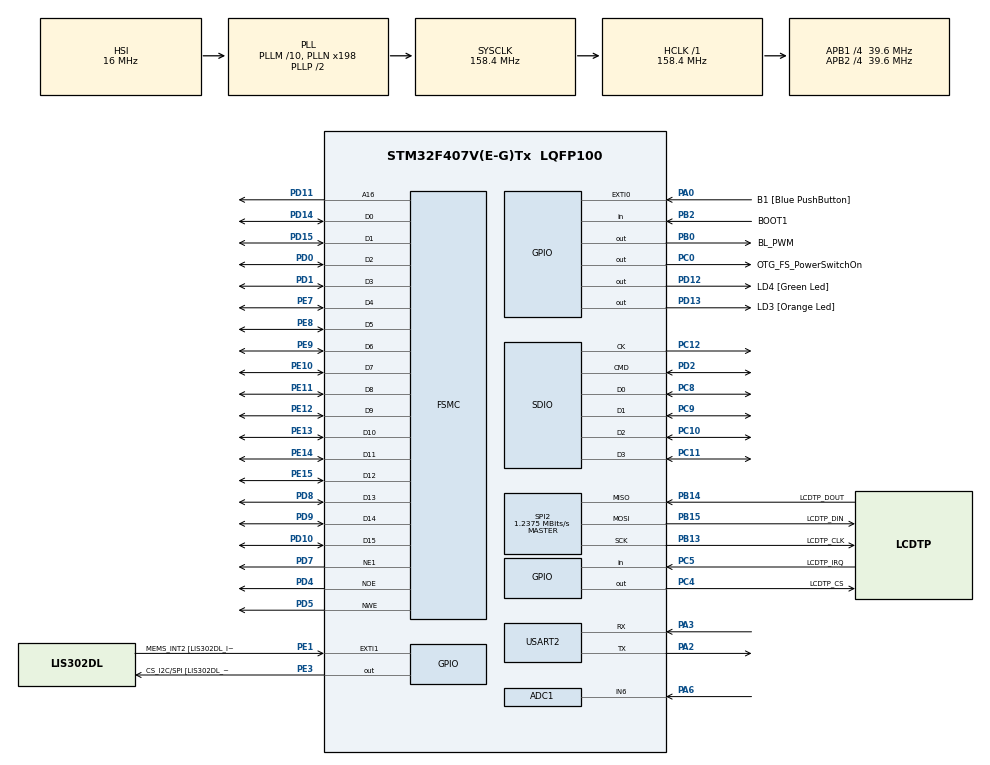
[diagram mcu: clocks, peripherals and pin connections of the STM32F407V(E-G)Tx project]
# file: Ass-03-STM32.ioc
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ADC1.Channel-0\#ChannelRegularConversion=ADC_CHANNEL_6
ADC1.ClockPrescaler=ADC_CLOCK_SYNC_PCLK_DIV8
ADC1.ContinuousConvMode=ENABLE
ADC1.DMAContinuousRequests=ENABLE
ADC1.DataAlign=ADC_DATAALIGN_RIGHT
ADC1.DiscontinuousConvMode=DISABLE
ADC1.EOCSelection=ADC_EOC_SEQ_CONV
ADC1.EnableAnalogWatchDog=false
ADC1.ExternalTrigConv=ADC_SOFTWARE_START
ADC1.ExternalTrigConvEdge=ADC_EXTERNALTRIGCONVEDGE_NONE
ADC1.InjNumberOfConversion=0
ADC1.NbrOfConversion=1
ADC1.NbrOfConversionFlag=1
ADC1.Rank-0\#ChannelRegularConversion=1
ADC1.Resolution=ADC_RESOLUTION_12B
ADC1.SamplingTime-0\#ChannelRegularConversion=ADC_SAMPLETIME_480CYCLES
ADC1.ScanConvMode=DISABLE
ADC1.master=1
Dma.ADC1.2.Direction=DMA_PERIPH_TO_MEMORY
Dma.ADC1.2.FIFOMode=DMA_FIFOMODE_DISABLE
Dma.ADC1.2.Instance=DMA2_Stream0
Dma.ADC1.2.MemDataAlignment=DMA_MDATAALIGN_HALFWORD
Dma.ADC1.2.MemInc=DMA_MINC_ENABLE
Dma.ADC1.2.Mode=DMA_CIRCULAR
Dma.ADC1.2.PeriphDataAlignment=DMA_PDATAALIGN_HALFWORD
Dma.ADC1.2.PeriphInc=DMA_PINC_DISABLE
Dma.ADC1.2.Priority=DMA_PRIORITY_LOW
Dma.Request0=SDIO_RX
Dma.Request1=SDIO_TX
Dma.Request2=ADC1
Dma.SDIO_RX.0.Direction=DMA_PERIPH_TO_MEMORY
Dma.SDIO_RX.0.FIFOMode=DMA_FIFOMODE_ENABLE
Dma.SDIO_RX.0.FIFOThreshold=DMA_FIFO_THRESHOLD_FULL
Dma.SDIO_RX.0.Instance=DMA2_Stream3
Dma.SDIO_RX.0.MemBurst=DMA_MBURST_INC4
Dma.SDIO_RX.0.MemDataAlignment=DMA_MDATAALIGN_WORD
Dma.SDIO_RX.0.MemInc=DMA_MINC_ENABLE
Dma.SDIO_RX.0.Mode=DMA_PFCTRL
Dma.SDIO_RX.0.PeriphBurst=DMA_PBURST_INC4
Dma.SDIO_RX.0.PeriphDataAlignment=DMA_PDATAALIGN_WORD
Dma.SDIO_RX.0.PeriphInc=DMA_PINC_DISABLE
Dma.SDIO_RX.0.Priority=DMA_PRIORITY_LOW
Dma.SDIO_TX.1.Direction=DMA_MEMORY_TO_PERIPH
Dma.SDIO_TX.1.FIFOMode=DMA_FIFOMODE_ENABLE
Dma.SDIO_TX.1.FIFOThreshold=DMA_FIFO_THRESHOLD_FULL
Dma.SDIO_TX.1.Instance=DMA2_Stream6
Dma.SDIO_TX.1.MemBurst=DMA_MBURST_INC4
Dma.SDIO_TX.1.MemDataAlignment=DMA_MDATAALIGN_WORD
Dma.SDIO_TX.1.MemInc=DMA_MINC_ENABLE
Dma.SDIO_TX.1.Mode=DMA_PFCTRL
Dma.SDIO_TX.1.PeriphBurst=DMA_PBURST_INC4
Dma.SDIO_TX.1.PeriphDataAlignment=DMA_PDATAALIGN_WORD
Dma.SDIO_TX.1.PeriphInc=DMA_PINC_DISABLE
Dma.SDIO_TX.1.Priority=DMA_PRIORITY_LOW
FATFS._FS_LOCK=5
FATFS._MAX_SS=512
FATFS._USE_CHMOD=1
FATFS._USE_LFN=0
FREERTOS.BinarySemaphores01=myBinarySem01,Dynamic,NULL;myBinarySem02,Dynamic,NULL;myBinarySem03,Dynamic,NULL;myBinarySem04,Dynamic,NULL;myBinarySem05,Dynamic,NULL;myBinarySem06,Dynamic,NULL
FREERTOS.CountingSemaphores01=myCountingSem01,2,Dynamic,NULL
FREERTOS.Mutexes01=myMutex01,Dynamic,NULL;myMutex02,Dynamic,NULL;myMutex03,Dynamic,NULL
FREERTOS.Queues01=myQueue01,4,uint32_t,0,Dynamic,NULL,NULL
FREERTOS.Tasks01=defaultTask,0,2048,StartDefaultTask,Default,NULL,Dynamic,NULL,NULL;myTask02,0,2048,StartTask02,Default,NULL,Dynamic,NULL,NULL;myTask03,2,2048,StartTask03,Default,NULL,Dynamic,NULL,NULL;myTask04,3,2048,StartTask04,Default,NULL,Dynamic,NULL,NULL
FREERTOS.Timers01=myTimer01,Callback01,osTimerPeriodic,Default,NULL,Dynamic,NULL
FREERTOS.configTOTAL_HEAP_SIZE=48000
FREERTOS.configUSE_COUNTING_SEMAPHORES=1
FREERTOS.configUSE_TIMERS=1
Mcu.Family=STM32F4
Mcu.Name=STM32F407V(E-G)Tx
Mcu.Package=LQFP100
NVIC.DMA2_Stream0_IRQn=true\:5\:0\:false\:false\:true\:true\:false
NVIC.DMA2_Stream3_IRQn=true\:5\:0\:false\:false\:true\:true\:false
NVIC.DMA2_Stream6_IRQn=true\:5\:0\:false\:false\:true\:true\:false
NVIC.PriorityGroup=NVIC_PRIORITYGROUP_4
NVIC.SDIO_IRQn=true\:5\:0\:false\:false\:true\:true\:true
NVIC.SPI2_IRQn=true\:8\:0\:true\:false\:true\:true\:true
NVIC.TIM1_UP_TIM10_IRQn=true\:0\:0\:false\:false\:true\:false\:false
NVIC.TimeBase=TIM1_UP_TIM10_IRQn
NVIC.TimeBaseIP=TIM1
NVIC.USART2_IRQn=true\:5\:0\:false\:false\:true\:true\:true
PA0-WKUP.GPIO_Label=B1 [Blue PushButton]
PA0-WKUP.GPIO_ModeDefaultEXTI=GPIO_MODE_EVT_RISING
PA0-WKUP.GPIO_PuPd=GPIO_NOPULL
PA0-WKUP.Signal=GPXTI0
PA10.GPIO_Label=OTG_FS_ID
PA10.GPIO_Mode=GPIO_MODE_AF_PP
PA10.GPIO_PuPd=GPIO_NOPULL
PA10.GPIO_Speed=GPIO_SPEED_FREQ_LOW
PA10.Signal=USB_OTG_FS_ID
PA11.GPIO_Label=OTG_FS_DM
PA11.GPIO_Mode=GPIO_MODE_AF_PP
PA11.GPIO_PuPd=GPIO_NOPULL
PA11.GPIO_Speed=GPIO_SPEED_FREQ_LOW
PA11.Signal=USB_OTG_FS_DM
PA12.GPIO_Label=OTG_FS_DP
PA12.GPIO_Mode=GPIO_MODE_AF_PP
PA12.GPIO_PuPd=GPIO_NOPULL
PA12.GPIO_Speed=GPIO_SPEED_FREQ_LOW
PA12.Signal=USB_OTG_FS_DP
PA13.GPIO_Label=SWDIO
PA13.Signal=SYS_JTMS-SWDIO
PA14.GPIO_Label=SWCLK
PA14.Signal=SYS_JTCK-SWCLK
PA2.Mode=Asynchronous
PA2.Signal=USART2_TX
PA3.Mode=Asynchronous
PA3.Signal=USART2_RX
PA4.GPIO_Label=I2S3_WS [CS43L22_LRCK]
PA4.GPIO_Mode=GPIO_MODE_AF_PP
PA4.GPIO_PuPd=GPIO_NOPULL
PA4.GPIO_Speed=GPIO_SPEED_FREQ_LOW
PA4.Signal=I2S3_WS
PA5.GPIO_Label=SPI1_SCK [LIS302DL_SCL/SPC]
PA5.GPIO_Mode=GPIO_MODE_AF_PP
PA5.GPIO_PuPd=GPIO_NOPULL
PA5.GPIO_Speed=GPIO_SPEED_FREQ_LOW
PA5.Signal=SPI1_SCK
PA6.Signal=ADCx_IN6
PA9.GPIO_Label=VBUS_FS
PA9.GPIO_Mode=GPIO_MODE_INPUT
PA9.GPIO_PuPd=GPIO_NOPULL
PA9.Signal=USB_OTG_FS_VBUS
PB0.GPIO_Label=BL_PWM
PB0.Signal=GPIO_Output
PB10.GPIO_Label=CLK_IN [MP45DT02_CLK]
PB10.GPIO_Mode=GPIO_MODE_AF_PP
PB10.GPIO_PuPd=GPIO_NOPULL
PB10.GPIO_Speed=GPIO_SPEED_FREQ_LOW
PB10.Signal=I2S2_CK
PB13.GPIO_Label=LCDTP_CLK
PB13.Mode=Full_Duplex_Master
PB13.Signal=SPI2_SCK
PB14.GPIO_Label=LCDTP_DOUT
PB14.Mode=Full_Duplex_Master
PB14.Signal=SPI2_MISO
PB15.GPIO_Label=LCDTP_DIN
PB15.Mode=Full_Duplex_Master
PB15.Signal=SPI2_MOSI
PB2.GPIO_Label=BOOT1
PB2.GPIO_Mode=GPIO_MODE_INPUT
PB2.GPIO_PuPd=GPIO_NOPULL
PB2.Signal=GPIO_Input
PB3.GPIO_Label=SWO
PB3.Signal=SYS_JTDO-SWO
PB6.GPIO_Label=Audio_SCL [CS43L22_SCL]
PB6.GPIO_Mode=GPIO_MODE_AF_OD
PB6.GPIO_PuPd=GPIO_NOPULL
PB6.GPIO_Speed=GPIO_SPEED_FREQ_LOW
PB6.Signal=I2C1_SCL
PB9.GPIO_Label=Audio_SDA [CS43L22_SDA]
PB9.GPIO_Mode=GPIO_MODE_AF_OD
PB9.GPIO_PuPd=GPIO_NOPULL
PB9.GPIO_Speed=GPIO_SPEED_FREQ_LOW
PB9.Signal=I2C1_SDA
PC0.GPIO_Label=OTG_FS_PowerSwitchOn
PC0.GPIO_PuPd=GPIO_NOPULL
PC0.GPIO_Speed=GPIO_SPEED_FREQ_LOW
PC0.PinState=GPIO_PIN_SET
PC0.Signal=GPIO_Output
PC10.Mode=SD_4_bits_Wide_bus
PC10.Signal=SDIO_D2
PC11.Mode=SD_4_bits_Wide_bus
PC11.Signal=SDIO_D3
PC12.Mode=SD_4_bits_Wide_bus
PC12.Signal=SDIO_CK
PC14-OSC32_IN.GPIO_Label=PC14-OSC32_IN
PC14-OSC32_IN.Signal=RCC_OSC32_IN
PC15-OSC32_OUT.GPIO_Label=PC15-OSC32_OUT
PC15-OSC32_OUT.Signal=RCC_OSC32_OUT
PC3.GPIO_Label=PDM_OUT [MP45DT02_DOUT]
PC3.GPIO_Mode=GPIO_MODE_AF_PP
PC3.GPIO_PuPd=GPIO_NOPULL
PC3.GPIO_Speed=GPIO_SPEED_FREQ_LOW
PC3.Signal=I2S2_SD
PC4.GPIO_Label=LCDTP_CS
PC4.GPIO_PuPd=GPIO_PULLDOWN
PC4.Signal=GPIO_Output
PC5.GPIO_Label=LCDTP_IRQ
PC5.Signal=GPIO_Input
PC7.GPIO_Label=I2S3_MCK [CS43L22_MCLK]
PC7.GPIO_Mode=GPIO_MODE_AF_PP
PC7.GPIO_PuPd=GPIO_NOPULL
PC7.GPIO_Speed=GPIO_SPEED_FREQ_LOW
PC7.Signal=I2S3_MCK
PC8.Mode=SD_4_bits_Wide_bus
PC8.Signal=SDIO_D0
PC9.Mode=SD_4_bits_Wide_bus
PC9.Signal=SDIO_D1
PD0.Mode=16b-d1
PD0.Signal=FSMC_D2
PD1.Mode=16b-d1
PD1.Signal=FSMC_D3
PD10.Mode=16b-d1
PD10.Signal=FSMC_D15
PD11.Mode=A16_1
PD11.Signal=FSMC_A16
PD12.GPIO_Label=LD4 [Green Led]
PD12.GPIO_PuPd=GPIO_NOPULL
PD12.GPIO_Speed=GPIO_SPEED_FREQ_LOW
PD12.Signal=GPIO_Output
PD13.GPIO_Label=LD3 [Orange Led]
PD13.GPIO_PuPd=GPIO_NOPULL
PD13.GPIO_Speed=GPIO_SPEED_FREQ_LOW
PD13.Signal=GPIO_Output
PD14.Mode=16b-d1
PD14.Signal=FSMC_D0
PD15.Mode=16b-d1
PD15.Signal=FSMC_D1
PD2.Mode=SD_4_bits_Wide_bus
PD2.Signal=SDIO_CMD
PD4.Mode=Lcd1
PD4.Signal=FSMC_NOE
PD5.Mode=Lcd1
PD5.Signal=FSMC_NWE
PD7.Mode=NorPsramChipSelect1_1
PD7.Signal=FSMC_NE1
PD8.Mode=16b-d1
PD8.Signal=FSMC_D13
PD9.Mode=16b-d1
PD9.Signal=FSMC_D14
PE1.GPIO_Label=MEMS_INT2 [LIS302DL_INT2]
PE1.GPIO_ModeDefaultEXTI=GPIO_MODE_EVT_RISING
PE1.GPIO_PuPd=GPIO_NOPULL
PE1.Signal=GPXTI1
PE10.Mode=16b-d1
PE10.Signal=FSMC_D7
PE11.Mode=16b-d1
PE11.Signal=FSMC_D8
PE12.Mode=16b-d1
PE12.Signal=FSMC_D9
PE13.Mode=16b-d1
PE13.Signal=FSMC_D10
PE14.Mode=16b-d1
PE14.Signal=FSMC_D11
PE15.Mode=16b-d1
PE15.Signal=FSMC_D12
PE3.GPIO_Label=CS_I2C/SPI [LIS302DL_CS_I2C/SPI]
PE3.GPIO_PuPd=GPIO_NOPULL
PE3.GPIO_Speed=GPIO_SPEED_FREQ_LOW
PE3.Signal=GPIO_Output
PE7.Mode=16b-d1
PE7.Signal=FSMC_D4
PE8.Mode=16b-d1
PE8.Signal=FSMC_D5
PE9.Mode=16b-d1
PE9.Signal=FSMC_D6
PH0-OSC_IN.GPIO_Label=PH0-OSC_IN
PH0-OSC_IN.Mode=HSE-External-Oscillator
PH0-OSC_IN.Signal=RCC_OSC_IN
PH1-OSC_OUT.GPIO_Label=PH1-OSC_OUT
PH1-OSC_OUT.Mode=HSE-External-Oscillator
PH1-OSC_OUT.Signal=RCC_OSC_OUT
ProjectManager.HeapSize=0x8000
ProjectManager.StackSize=0x4000
ProjectManager.TargetToolchain=SW4STM32
RCC.48MHZClocksFreq_Value=45257142.85714286
RCC.AHBFreq_Value=158400000
RCC.APB1CLKDivider=RCC_HCLK_DIV4
RCC.APB1Freq_Value=39600000
RCC.APB1TimFreq_Value=79200000
RCC.APB2CLKDivider=RCC_HCLK_DIV4
RCC.APB2Freq_Value=39600000
RCC.APB2TimFreq_Value=79200000
RCC.CortexFreq_Value=158400000
RCC.HCLKFreq_Value=158400000
RCC.HSE_VALUE=8000000
RCC.HSI_VALUE=16000000
RCC.LSE_VALUE=32768
RCC.PLLM=10
RCC.PLLN=198
RCC.PLLQ=7
RCC.SYSCLKFreq_VALUE=158400000
RCC.SYSCLKSource=RCC_SYSCLKSOURCE_PLLCLK
RCC.VCOOutputFreq_Value=316800000
SH.ADCx_IN6.0=ADC1_IN6,IN6
SPI2.BaudRatePrescaler=SPI_BAUDRATEPRESCALER_32
SPI2.CalculateBaudRate=1.2375 MBits/s
SPI2.Direction=SPI_DIRECTION_2LINES
SPI2.Mode=SPI_MODE_MASTER
SPI2.VirtualType=VM_MASTER
USART2.VirtualMode=VM_ASYNC
VP_FATFS_VS_SDIO.Mode=SDIO
VP_FREERTOS_VS_ENABLE.Mode=Enabled
VP_SYS_VS_tim1.Mode=TIM1
board=STM32F4DISCOVERY

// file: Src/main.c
/**
  ******************************************************************************
  * @file           : main.c
  * @brief          : Main program body
  ******************************************************************************
  * This notice applies to any and all portions of this file
  * that are not between comment pairs USER CODE BEGIN and
  * USER CODE END. Other portions of this file, whether
  * inserted by the user or by software development tools
  * are owned by their respective copyright owners.
  *
  * Copyright (c) 2018 STMicroelectronics International N.V.
  * All rights reserved.
  *
  * Redistribution and use in source and binary forms, with or without
  * modification, are permitted, provided that the following conditions are met:
  *
  * 1. Redistribution of source code must retain the above copyright notice,
  *    this list of conditions and the following disclaimer.
  * 2. Redistributions in binary form must reproduce the above copyright notice,
  *    this list of conditions and the following disclaimer in the documentation
  *    and/or other materials provided with the distribution.
  * 3. Neither the name of STMicroelectronics nor the names of other
  *    contributors to this software may be used to endorse or promote products
  *    derived from this software without specific written permission.
  * 4. This software, including modifications and/or derivative works of this
  *    software, must execute solely and exclusively on microcontroller or
  *    microprocessor devices manufactured by or for STMicroelectronics.
  * 5. Redistribution and use of this software other than as permitted under
  *    this license is void and will automatically terminate your rights under
  *    this license.
  *
  * THIS SOFTWARE IS PROVIDED BY STMICROELECTRONICS AND CONTRIBUTORS "AS IS"
  * AND ANY EXPRESS, IMPLIED OR STATUTORY WARRANTIES, INCLUDING, BUT NOT
  * LIMITED TO, THE IMPLIED WARRANTIES OF MERCHANTABILITY, FITNESS FOR A
  * PARTICULAR PURPOSE AND NON-INFRINGEMENT OF THIRD PARTY INTELLECTUAL PROPERTY
  * RIGHTS ARE DISCLAIMED TO THE FULLEST EXTENT PERMITTED BY LAW. IN NO EVENT
  * SHALL STMICROELECTRONICS OR CONTRIBUTORS BE LIABLE FOR ANY DIRECT, INDIRECT,
  * INCIDENTAL, SPECIAL, EXEMPLARY, OR CONSEQUENTIAL DAMAGES (INCLUDING, BUT NOT
  * LIMITED TO, PROCUREMENT OF SUBSTITUTE GOODS OR SERVICES; LOSS OF USE, DATA,
  * OR PROFITS; OR BUSINESS INTERRUPTION) HOWEVER CAUSED AND ON ANY THEORY OF
  * LIABILITY, WHETHER IN CONTRACT, STRICT LIABILITY, OR TORT (INCLUDING
  * NEGLIGENCE OR OTHERWISE) ARISING IN ANY WAY OUT OF THE USE OF THIS SOFTWARE,
  * EVEN IF ADVISED OF THE POSSIBILITY OF SUCH DAMAGE.
  *
  ******************************************************************************
  */
#include "main.h"
#include "stm32f4xx_hal.h"
#include "cmsis_os.h"
#include "adc.h"
#include "dma.h"
#include "fatfs.h"
#include "sdio.h"
#include "spi.h"
#include "usart.h"
#include "gpio.h"
#include "fsmc.h"

/* USER CODE BEGIN PV */
/* Private variables ---------------------------------------------------------*/

/* USER CODE END PV */

void SystemClock_Config(void);
void MX_FREERTOS_Init(void);

/* USER CODE BEGIN PFP */
/* Private function prototypes -----------------------------------------------*/

/* USER CODE END PFP */

int main(void)
{

  /* MCU Configuration----------------------------------------------------------*/

  /* Reset of all peripherals, Initializes the Flash interface and the Systick. */
  HAL_Init();

  /* Configure the system clock */
  SystemClock_Config();

  /* Initialize all configured peripherals */
  MX_GPIO_Init();
  MX_DMA_Init();
  MX_FSMC_Init();
  MX_SDIO_SD_Init();
  MX_USART2_UART_Init();
  MX_SPI2_Init();
  MX_ADC1_Init();

  /* Call init function for freertos objects (in freertos.c) */
  MX_FREERTOS_Init();

  /* Start scheduler */
  osKernelStart();

  /* We should never get here as control is now taken by the scheduler */

  /* Infinite loop */
  while (1)
  {

  }

}

void SystemClock_Config(void)
{

  RCC_OscInitTypeDef RCC_OscInitStruct;
  RCC_ClkInitTypeDef RCC_ClkInitStruct;

    /**Configure the main internal regulator output voltage
    */
  __HAL_RCC_PWR_CLK_ENABLE();

  __HAL_PWR_VOLTAGESCALING_CONFIG(PWR_REGULATOR_VOLTAGE_SCALE1);

    /**Initializes the CPU, AHB and APB busses clocks
    */
  RCC_OscInitStruct.OscillatorType = RCC_OSCILLATORTYPE_HSI;
  RCC_OscInitStruct.HSIState = RCC_HSI_ON;
  RCC_OscInitStruct.HSICalibrationValue = 16;
  RCC_OscInitStruct.PLL.PLLState = RCC_PLL_ON;
  RCC_OscInitStruct.PLL.PLLSource = RCC_PLLSOURCE_HSI;
  RCC_OscInitStruct.PLL.PLLM = 10;
  RCC_OscInitStruct.PLL.PLLN = 198;
  RCC_OscInitStruct.PLL.PLLP = RCC_PLLP_DIV2;
  RCC_OscInitStruct.PLL.PLLQ = 7;
  if (HAL_RCC_OscConfig(&RCC_OscInitStruct) != HAL_OK)
  {
    _Error_Handler(__FILE__, __LINE__);
  }

    /**Initializes the CPU, AHB and APB busses clocks
    */
  RCC_ClkInitStruct.ClockType = RCC_CLOCKTYPE_HCLK|RCC_CLOCKTYPE_SYSCLK
                              |RCC_CLOCKTYPE_PCLK1|RCC_CLOCKTYPE_PCLK2;
  RCC_ClkInitStruct.SYSCLKSource = RCC_SYSCLKSOURCE_PLLCLK;
  RCC_ClkInitStruct.AHBCLKDivider = RCC_SYSCLK_DIV1;
  RCC_ClkInitStruct.APB1CLKDivider = RCC_HCLK_DIV4;
  RCC_ClkInitStruct.APB2CLKDivider = RCC_HCLK_DIV4;

  if (HAL_RCC_ClockConfig(&RCC_ClkInitStruct, FLASH_LATENCY_5) != HAL_OK)
  {
    _Error_Handler(__FILE__, __LINE__);
  }

    /**Configure the Systick interrupt time
    */
  HAL_SYSTICK_Config(HAL_RCC_GetHCLKFreq()/1000);

    /**Configure the Systick
    */
  HAL_SYSTICK_CLKSourceConfig(SYSTICK_CLKSOURCE_HCLK);

  /* SysTick_IRQn interrupt configuration */
  HAL_NVIC_SetPriority(SysTick_IRQn, 15, 0);
}

void HAL_TIM_PeriodElapsedCallback(TIM_HandleTypeDef *htim)
{
  /* USER CODE BEGIN Callback 0 */
static uint16_t count=0;
  /* USER CODE END Callback 0 */
  if (htim->Instance == TIM1) {
    HAL_IncTick();
  }
}

void _Error_Handler(char *file, int line)
{
  while(1)
  {
  }
}

/************************ (C) COPYRIGHT STMicroelectronics *****END OF FILE****/

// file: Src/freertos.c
/**
  ******************************************************************************
  * File Name          : freertos.c
  * Description        : Code for freertos applications
  ******************************************************************************
  * This notice applies to any and all portions of this file
  * that are not between comment pairs USER CODE BEGIN and
  * USER CODE END. Other portions of this file, whether
  * inserted by the user or by software development tools
  * are owned by their respective copyright owners.
  *
  * Copyright (c) 2018 STMicroelectronics International N.V.
  * All rights reserved.
  *
  * Redistribution and use in source and binary forms, with or without
  * modification, are permitted, provided that the following conditions are met:
  *
  * 1. Redistribution of source code must retain the above copyright notice,
  *    this list of conditions and the following disclaimer.
  * 2. Redistributions in binary form must reproduce the above copyright notice,
  *    this list of conditions and the following disclaimer in the documentation
  *    and/or other materials provided with the distribution.
  * 3. Neither the name of STMicroelectronics nor the names of other
  *    contributors to this software may be used to endorse or promote products
  *    derived from this software without specific written permission.
  * 4. This software, including modifications and/or derivative works of this
  *    software, must execute solely and exclusively on microcontroller or
  *    microprocessor devices manufactured by or for STMicroelectronics.
  * 5. Redistribution and use of this software other than as permitted under
  *    this license is void and will automatically terminate your rights under
  *    this license.
  *
  * THIS SOFTWARE IS PROVIDED BY STMICROELECTRONICS AND CONTRIBUTORS "AS IS"
  * AND ANY EXPRESS, IMPLIED OR STATUTORY WARRANTIES, INCLUDING, BUT NOT
  * LIMITED TO, THE IMPLIED WARRANTIES OF MERCHANTABILITY, FITNESS FOR A
  * PARTICULAR PURPOSE AND NON-INFRINGEMENT OF THIRD PARTY INTELLECTUAL PROPERTY
  * RIGHTS ARE DISCLAIMED TO THE FULLEST EXTENT PERMITTED BY LAW. IN NO EVENT
  * SHALL STMICROELECTRONICS OR CONTRIBUTORS BE LIABLE FOR ANY DIRECT, INDIRECT,
  * INCIDENTAL, SPECIAL, EXEMPLARY, OR CONSEQUENTIAL DAMAGES (INCLUDING, BUT NOT
  * LIMITED TO, PROCUREMENT OF SUBSTITUTE GOODS OR SERVICES; LOSS OF USE, DATA,
  * OR PROFITS; OR BUSINESS INTERRUPTION) HOWEVER CAUSED AND ON ANY THEORY OF
  * LIABILITY, WHETHER IN CONTRACT, STRICT LIABILITY, OR TORT (INCLUDING
  * NEGLIGENCE OR OTHERWISE) ARISING IN ANY WAY OUT OF THE USE OF THIS SOFTWARE,
  * EVEN IF ADVISED OF THE POSSIBILITY OF SUCH DAMAGE.
  *
  ******************************************************************************
  */

#include "FreeRTOS.h"
#include "task.h"
#include "cmsis_os.h"

/* USER CODE BEGIN Includes */

// STEPIEN
#include "Ass-03.h"

/* USER CODE END Includes */

osThreadId defaultTaskHandle;
osThreadId myTask02Handle;
osThreadId myTask03Handle;
osThreadId myTask04Handle;
osMessageQId myQueue01Handle;
osMessageQId LCD_ControlMsg;
osMessageQId LCD_ControllMsg;
osPoolId LCD_ControlPool;
osTimerId myTimer01Handle;
osMutexId myMutex01Handle;
osMutexId myMutex02Handle;
osMutexId myMutex03Handle;
osSemaphoreId myBinarySem01Handle;
osSemaphoreId myBinarySem02Handle;
osSemaphoreId myBinarySem03Handle;
osSemaphoreId myBinarySem04Handle;
osSemaphoreId myBinarySem05Handle;
osSemaphoreId myBinarySem06Handle;
osSemaphoreId myCountingSem01Handle;

void StartDefaultTask(void const * argument);
void StartTask02(void const * argument);
void StartTask03(void const * argument);
void StartTask04(void const * argument);
void Callback01(void const * argument);

extern void MX_FATFS_Init(void);
void MX_FREERTOS_Init(void); /* (MISRA C 2004 rule 8.1) */

/* Hook prototypes */

/* Init FreeRTOS */

void MX_FREERTOS_Init(void) {

  /* Create the mutex(es) */
  /* definition and creation of myMutex01 */
  osMutexDef(myMutex01);
  myMutex01Handle = osMutexCreate(osMutex(myMutex01));

  /* definition and creation of myMutex02 */
  osMutexDef(myMutex02);
  myMutex02Handle = osMutexCreate(osMutex(myMutex02));

  /* definition and creation of myMutex03 */
  osMutexDef(myMutex03);
  myMutex03Handle = osMutexCreate(osMutex(myMutex03));

  /* Create the semaphores(s) */
  /* definition and creation of myBinarySem01 */
  osSemaphoreDef(myBinarySem01);
  myBinarySem01Handle = osSemaphoreCreate(osSemaphore(myBinarySem01), 1);

  /* definition and creation of myBinarySem02 */
  osSemaphoreDef(myBinarySem02);
  myBinarySem02Handle = osSemaphoreCreate(osSemaphore(myBinarySem02), 1);

  /* definition and creation of myBinarySem03 */
  osSemaphoreDef(myBinarySem03);
  myBinarySem03Handle = osSemaphoreCreate(osSemaphore(myBinarySem03), 1);

  /* definition and creation of myBinarySem04 */
  osSemaphoreDef(myBinarySem04);
  myBinarySem04Handle = osSemaphoreCreate(osSemaphore(myBinarySem04), 1);

  /* definition and creation of myBinarySem05 */
  osSemaphoreDef(myBinarySem05);
  myBinarySem05Handle = osSemaphoreCreate(osSemaphore(myBinarySem05), 1);

  /* definition and creation of myBinarySem06 */
  osSemaphoreDef(myBinarySem06);
  myBinarySem06Handle = osSemaphoreCreate(osSemaphore(myBinarySem06), 1);

  /* definition and creation of myCountingSem01 */
  osSemaphoreDef(myCountingSem01);
  myCountingSem01Handle = osSemaphoreCreate(osSemaphore(myCountingSem01), 2);

  /* USER CODE BEGIN RTOS_SEMAPHORES */
  /* add semaphores, ... */
  osSemaphoreWait(myBinarySem01Handle, osWaitForever); // STEPIEN: Start with nothing
  osSemaphoreWait(myBinarySem04Handle, osWaitForever); // STEPIEN: Start with nothing
  osSemaphoreWait(myBinarySem05Handle, osWaitForever); // STEPIEN: Start with nothing
  osSemaphoreWait(myBinarySem06Handle, osWaitForever); // STEPIEN: Start with nothing
  /* USER CODE END RTOS_SEMAPHORES */

  /* Create the timer(s) */
  /* definition and creation of myTimer01 */
  osTimerDef(myTimer01, Callback01);
  myTimer01Handle = osTimerCreate(osTimer(myTimer01), osTimerPeriodic, NULL);

  /* USER CODE BEGIN RTOS_TIMERS */
  /* start timers, add new ones, ... */
  // STEPIEN Start timer for touch panel
  osTimerStart(myTimer01Handle, 10);
  /* USER CODE END RTOS_TIMERS */

  /* Create the thread(s) */
  /* definition and creation of defaultTask */
  osThreadDef(defaultTask, StartDefaultTask, osPriorityNormal, 0, 2048);
  defaultTaskHandle = osThreadCreate(osThread(defaultTask), NULL);

  /* definition and creation of myTask02 */
  osThreadDef(myTask02, StartTask02, osPriorityNormal, 0, 2048);
  myTask02Handle = osThreadCreate(osThread(myTask02), NULL);

  /* definition and creation of myTask03 */
  osThreadDef(myTask03, StartTask03, osPriorityHigh, 0, 2048);
  myTask03Handle = osThreadCreate(osThread(myTask03), NULL);

  /* definition and creation of myTask04 */
  osThreadDef(myTask04, StartTask04, osPriorityRealtime, 0, 2048);
  myTask04Handle = osThreadCreate(osThread(myTask04), NULL);

  /* Create the queue(s) */
  /* definition and creation of myQueue01 */
  osMessageQDef(myQueue01, 4, uint32_t);
  myQueue01Handle = osMessageCreate(osMessageQ(myQueue01), NULL);
  osMessageQDef(LCD_Control, 4, DSP_LCD_CONTROL);              // Define message queue
  LCD_ControlMsg = osMessageCreate(osMessageQ(LCD_Control), NULL);  // create msg queue

  /* USER CODE BEGIN RTOS_QUEUES */
  /* add queues, ... */
  osPoolDef(LCD_ControlP, 4, DSP_LCD_CONTROL);              // Define message queue
  LCD_ControlPool = osMessageCreate(osPool(LCD_ControlP), NULL);  // create msg queue

  /* USER CODE END RTOS_QUEUES */
}

/* StartDefaultTask function */
void StartDefaultTask(void const * argument)
{
  /* init code for FATFS */
  MX_FATFS_Init();
  BSP_LCD_Init();
  BSP_LCD_DisplayOn();
  BSP_TP_Init();
  /* USER CODE BEGIN StartDefaultTask */
  // STEPIEN
  Ass_03_Task_01(argument);
  /* USER CODE END StartDefaultTask */
}

/* StartTask02 function */
void StartTask02(void const * argument)
{
  /* USER CODE BEGIN StartTask02 */
  // STEPIEN
  osDelay(100);

  Ass_03_Task_02(argument);
  /* USER CODE END StartTask02 */
}

/* StartTask03 function */
void StartTask03(void const * argument)
{
  /* USER CODE BEGIN StartTask03 */
  // STEPIEN
  osDelay(200);
  Ass_03_Task_03(argument);
  /* USER CODE END StartTask03 */
}

/* StartTask04 function */
void StartTask04(void const * argument)
{
  /* USER CODE BEGIN StartTask04 */
  osDelay(300);
  Ass_03_Task_04(argument);
  /* USER CODE END StartTask04 */
}

/* Callback01 function */
void Callback01(void const * argument)
{
  /* USER CODE BEGIN Callback01 */

  // STEPIEN: Period timer to signal reading the touch panel display
  osSemaphoreRelease(myBinarySem04Handle);

  /* USER CODE END Callback01 */
}

/************************ (C) COPYRIGHT STMicroelectronics *****END OF FILE****/
